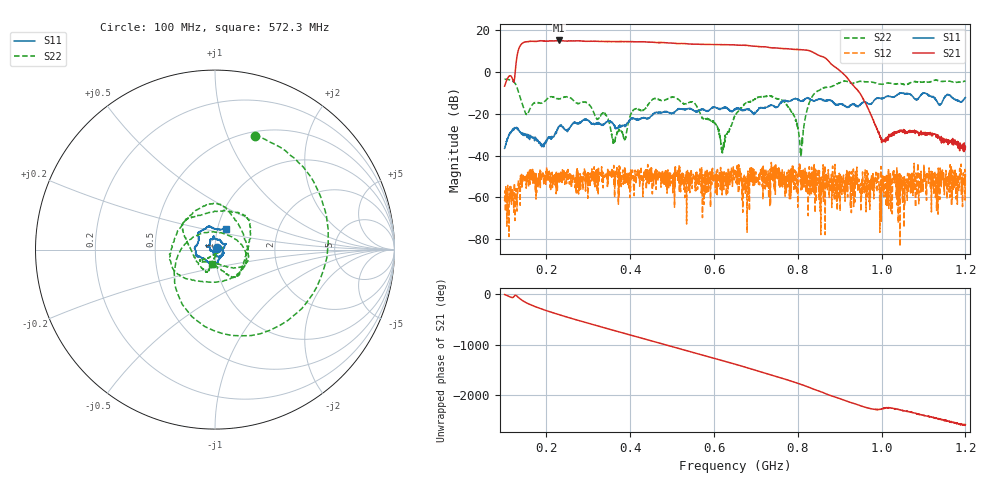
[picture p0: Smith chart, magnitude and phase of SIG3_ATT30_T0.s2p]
# Hz S DB R 50
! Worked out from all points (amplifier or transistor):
!   1601 points, 100 MHz to 1.2 GHz, reference 50 ohm
!   highest |S21| = 15.2 dB at 229.2 MHz (marker M1)
!   |S21| within 3 dB of that: 135.9 MHz to 712.1 MHz (576.2 MHz wide, 136 % of centre)
!   unconditionally stable (mu >= 1): start of sweep to end of sweep
!   at 282.9 MHz: K = 31.60, MAG = 15.2 dB, |S12| = -51.3 dB
!   at 650 MHz: K = 27.84, MAG = 13.2 dB, |S12| = -48.2 dB
!   at 1.2 GHz: K = 5045.98, MAG = -33.6 dB, |S12| = -48.9 dB
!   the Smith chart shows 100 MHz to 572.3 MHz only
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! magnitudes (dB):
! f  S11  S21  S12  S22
! 100 MHz  -36.5  -6.7  -61.7  -3.4
! 121.3 MHz  -26.9  -4.7  -60.8  -4.6
! 142.6 MHz  -30.0  13.9  -50.6  -15.4
! 190.8 MHz  -35.0  15.1  -48.9  -14.7
! 229.2 MHz  -26.3  15.2  -48.5  -12.8
! 283.6 MHz  -23.9  14.9  -50.4  -14.7
! 339.9 MHz  -24.4  14.7  -48.5  -19.7
! 361.9 MHz  -25.2  14.7  -49.3  -33.4
! 408.7 MHz  -22.2  14.6  -53.5  -17.9
! 467.1 MHz  -19.6  14.2  -51.1  -13.0
! 551.7 MHz  -18.6  13.4  -50.5  -14.6
! 620.4 MHz  -17.2  13.2  -55.4  -38.6
! 650 MHz  -18.0  13.0  -48.2  -20.8
! 673.4 MHz  -18.1  12.9  -54.8  -15.1
! 758.6 MHz  -14.5  11.4  -47.6  -13.1
! 790.9 MHz  -12.9  10.9  -52.8  -20.7
! 807.4 MHz  -14.0  10.8  -56.5  -40.4
! 833.6 MHz  -13.3  9.9  -52.4  -11.9
! 915.4 MHz  -16.5  -2.1  -48.8  -4.4
! 999.9 MHz  -12.5  -33.8  -52.5  -5.8
! 1.017 GHz  -11.7  -29.8  -65.3  -5.2
! 1.2 GHz  -12.1  -36.0  -48.9  -4.2
